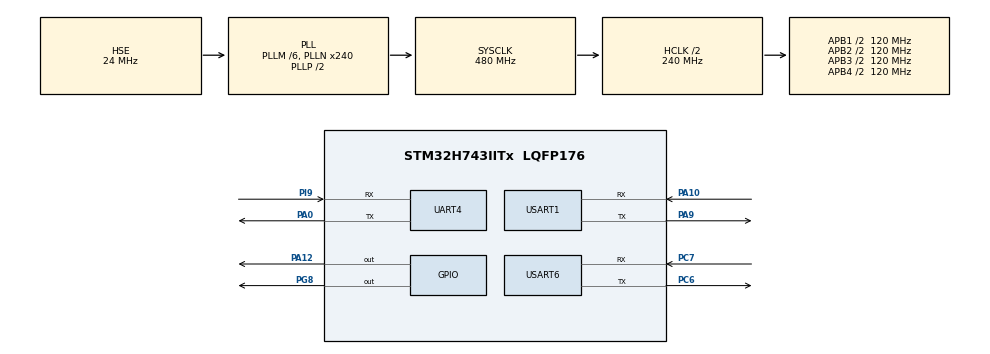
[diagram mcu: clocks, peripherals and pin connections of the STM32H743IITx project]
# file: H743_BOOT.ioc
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CORTEX_M7.CPU_DCache=Disabled
CORTEX_M7.CPU_ICache=Disabled
Mcu.Family=STM32H7
Mcu.Name=STM32H743IITx
Mcu.Package=LQFP176
NVIC.PriorityGroup=NVIC_PRIORITYGROUP_4
NVIC.UART4_IRQn=true\:0\:0\:false\:false\:true\:true\:true\:true
NVIC.USART1_IRQn=true\:0\:0\:false\:false\:true\:true\:true\:true
NVIC.USART6_IRQn=true\:0\:0\:false\:false\:true\:true\:true\:true
PA0.Mode=Asynchronous
PA0.Signal=UART4_TX
PA10.Mode=Asynchronous
PA10.Signal=USART1_RX
PA12.GPIO_PuPd=GPIO_PULLUP
PA12.PinState=GPIO_PIN_SET
PA12.Signal=GPIO_Output
PA13\ (JTMS/SWDIO).Mode=Serial_Wire
PA13\ (JTMS/SWDIO).Signal=DEBUG_JTMS-SWDIO
PA14\ (JTCK/SWCLK).Mode=Serial_Wire
PA14\ (JTCK/SWCLK).Signal=DEBUG_JTCK-SWCLK
PA9.Mode=Asynchronous
PA9.Signal=USART1_TX
PC6.Mode=Asynchronous
PC6.Signal=USART6_TX
PC7.Mode=Asynchronous
PC7.Signal=USART6_RX
PG8.GPIO_PuPd=GPIO_PULLUP
PG8.PinState=GPIO_PIN_SET
PG8.Signal=GPIO_Output
PH0-OSC_IN\ (PH0).Mode=HSE-External-Oscillator
PH0-OSC_IN\ (PH0).Signal=RCC_OSC_IN
PH1-OSC_OUT\ (PH1).Mode=HSE-External-Oscillator
PH1-OSC_OUT\ (PH1).Signal=RCC_OSC_OUT
PI9.Mode=Asynchronous
PI9.Signal=UART4_RX
ProjectManager.HeapSize=0x200
ProjectManager.StackSize=0x400
ProjectManager.TargetToolchain=MDK-ARM V5.32
RCC.ADCFreq_Value=180000000
RCC.APB1Freq_Value=120000000
RCC.APB2Freq_Value=120000000
RCC.APB3Freq_Value=120000000
RCC.APB4Freq_Value=120000000
RCC.CortexFreq_Value=480000000
RCC.D1PPRE=RCC_APB3_DIV2
RCC.D2PPRE1=RCC_APB1_DIV2
RCC.D2PPRE2=RCC_APB2_DIV2
RCC.D3PPRE=RCC_APB4_DIV2
RCC.DIVM1=6
RCC.DIVM2=12
RCC.DIVM3=24
RCC.DIVN1=240
RCC.DIVN2=180
RCC.DIVN3=384
RCC.DIVQ1=4
RCC.DIVQ2=4
RCC.DIVQ3=8
RCC.FDCANCLockSelection=RCC_FDCANCLKSOURCE_PLL2
RCC.HCLKFreq_Value=240000000
RCC.HPRE=RCC_HCLK_DIV2
RCC.HSE_VALUE=24000000
RCC.PLLSourceVirtual=RCC_PLLSOURCE_HSE
RCC.ProductRev=revV
RCC.SYSCLKFreq_VALUE=480000000
RCC.SYSCLKSource=RCC_SYSCLKSOURCE_PLLCLK
RCC.USBFreq_Value=240000000
USART1.VirtualMode-Asynchronous=VM_ASYNC
USART6.VirtualMode-Asynchronous=VM_ASYNC
board=custom

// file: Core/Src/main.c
/* USER CODE BEGIN Header */
/**
  ******************************************************************************
  * @file           : main.c
  * @brief          : Main program body
  ******************************************************************************
  * @attention
  *
  * Copyright (c) 2023 STMicroelectronics.
  * All rights reserved.
  *
  * This software is licensed under terms that can be found in the LICENSE file
  * in the root directory of this software component.
  * If no LICENSE file comes with this software, it is provided AS-IS.
  *
  ******************************************************************************
  */
/* USER CODE END Header */
#include "main.h"
#include "usart.h"
#include "gpio.h"

/* USER CODE BEGIN Includes */
#include "stdio.h"
#include "check_agent_engine.h"
#include "micro_shell.h"
#include "ymodem_ota.h"
/* USER CODE END Includes */

/* USER CODE BEGIN PTD */
#include "SEGGER_RTT.h"
/* USER CODE END PTD */

void SystemClock_Config(void);

/* USER CODE BEGIN 0 */
__attribute__((aligned(32)))
uint8_t s_chBuffer[2048 + 128] ;
static byte_queue_t                  s_tCheckUsePeekQueue;
static fsm(check_use_peek)           s_fsmCheckUsePeek;
static ymodem_ota_recive_t           s_tYmodemOtaReceive;
static check_shell_t                 s_tShellObj;

int reboot(void)
{
    SCB->AIRCR = 0X05FA0000 | (uint32_t)0x04;
    return 0;
}
MSH_CMD_EXPORT(reboot, reboot)

int64_t get_system_time_ms(void)
{
    return HAL_GetTick();
}

uint16_t shell_read_data(wl_shell_t *ptObj, char *pchBuffer, uint16_t hwSize)
{
//    peek_byte_t *ptReadByte = get_read_byte_interface(&s_fsmCheckUsePeek);
//    return ptReadByte->fnGetByte(ptReadByte, (uint8_t *)pchBuffer, hwSize);
//
	return SEGGER_RTT_Read(0,(uint8_t *)pchBuffer, hwSize);
}

uint16_t shell_write_data(wl_shell_t *ptObj, const char *pchBuffer, uint16_t hwSize)
{
	//HAL_UART_Transmit(&huart6, (uint8_t *)pchBuffer, hwSize, 100);
	return SEGGER_RTT_Write(0, pchBuffer,hwSize);
}
/* USER CODE END 0 */

int main(void)
{

    /* MCU Configuration--------------------------------------------------------*/

    /* Reset of all peripherals, Initializes the Flash interface and the Systick. */
    HAL_Init();

    /* Configure the system clock */
    SystemClock_Config();

    /* Initialize all configured peripherals */
    MX_GPIO_Init();
    MX_USART1_UART_Init();
    MX_USART6_UART_Init();
    MX_UART4_Init();
    /* USER CODE BEGIN 2 */
    queue_init(&s_tCheckUsePeekQueue, s_chBuffer, sizeof(s_chBuffer));
    init_fsm(check_use_peek, &s_fsmCheckUsePeek, args(&s_tCheckUsePeekQueue));
    shell_ops_t s_tOps = {
        .fnReadData = shell_read_data,
		.fnWriteData = shell_write_data,
    };
    shell_init(&s_tShellObj,&s_tOps);
	agent_register(&s_fsmCheckUsePeek, &s_tShellObj.tCheckAgent);

    ymodem_ota_receive_init(&s_tYmodemOtaReceive, get_read_byte_interface(&s_fsmCheckUsePeek));
    agent_register(&s_fsmCheckUsePeek, &s_tYmodemOtaReceive.tCheckAgent);

    connect(&tUartMsgObj, SIGNAL(uart_sig), &s_tCheckUsePeekQueue, SLOT(enqueue_bytes));

    connect(&s_tYmodemOtaReceive.tYmodemReceive, SIGNAL(ymodem_rec_sig), &huart1, SLOT(uart_sent_data));
    connect(&s_tYmodemOtaReceive.tYmodemReceive, SIGNAL(ymodem_rec_sig), &huart6, SLOT(uart_sent_data));

    SEGGER_RTT_Init();

    /* USER CODE END 2 */

    /* Infinite loop */
    while (1) {

        /* USER CODE BEGIN 3 */
        call_fsm( check_use_peek,  &s_fsmCheckUsePeek );
    }

    /* USER CODE END 3 */
}

void SystemClock_Config(void)
{
    RCC_OscInitTypeDef RCC_OscInitStruct = {0};
    RCC_ClkInitTypeDef RCC_ClkInitStruct = {0};

    /** Supply configuration update enable
    */
    HAL_PWREx_ConfigSupply(PWR_LDO_SUPPLY);

    /** Configure the main internal regulator output voltage
    */
    __HAL_PWR_VOLTAGESCALING_CONFIG(PWR_REGULATOR_VOLTAGE_SCALE1);

    while(!__HAL_PWR_GET_FLAG(PWR_FLAG_VOSRDY)) {}

    __HAL_RCC_SYSCFG_CLK_ENABLE();
    __HAL_PWR_VOLTAGESCALING_CONFIG(PWR_REGULATOR_VOLTAGE_SCALE0);

    while(!__HAL_PWR_GET_FLAG(PWR_FLAG_VOSRDY)) {}

    /** Initializes the RCC Oscillators according to the specified parameters
    * in the RCC_OscInitTypeDef structure.
    */
    RCC_OscInitStruct.OscillatorType = RCC_OSCILLATORTYPE_HSE;
    RCC_OscInitStruct.HSEState = RCC_HSE_ON;
    RCC_OscInitStruct.PLL.PLLState = RCC_PLL_ON;
    RCC_OscInitStruct.PLL.PLLSource = RCC_PLLSOURCE_HSE;
    RCC_OscInitStruct.PLL.PLLM = 6;
    RCC_OscInitStruct.PLL.PLLN = 240;
    RCC_OscInitStruct.PLL.PLLP = 2;
    RCC_OscInitStruct.PLL.PLLQ = 4;
    RCC_OscInitStruct.PLL.PLLR = 2;
    RCC_OscInitStruct.PLL.PLLRGE = RCC_PLL1VCIRANGE_2;
    RCC_OscInitStruct.PLL.PLLVCOSEL = RCC_PLL1VCOWIDE;
    RCC_OscInitStruct.PLL.PLLFRACN = 0;

    if (HAL_RCC_OscConfig(&RCC_OscInitStruct) != HAL_OK) {
        Error_Handler();
    }

    /** Initializes the CPU, AHB and APB buses clocks
    */
    RCC_ClkInitStruct.ClockType = RCC_CLOCKTYPE_HCLK | RCC_CLOCKTYPE_SYSCLK
                                  | RCC_CLOCKTYPE_PCLK1 | RCC_CLOCKTYPE_PCLK2
                                  | RCC_CLOCKTYPE_D3PCLK1 | RCC_CLOCKTYPE_D1PCLK1;
    RCC_ClkInitStruct.SYSCLKSource = RCC_SYSCLKSOURCE_PLLCLK;
    RCC_ClkInitStruct.SYSCLKDivider = RCC_SYSCLK_DIV1;
    RCC_ClkInitStruct.AHBCLKDivider = RCC_HCLK_DIV2;
    RCC_ClkInitStruct.APB3CLKDivider = RCC_APB3_DIV2;
    RCC_ClkInitStruct.APB1CLKDivider = RCC_APB1_DIV2;
    RCC_ClkInitStruct.APB2CLKDivider = RCC_APB2_DIV2;
    RCC_ClkInitStruct.APB4CLKDivider = RCC_APB4_DIV2;

    if (HAL_RCC_ClockConfig(&RCC_ClkInitStruct, FLASH_LATENCY_4) != HAL_OK) {
        Error_Handler();
    }
}

/* USER CODE BEGIN 4 */
int stdout_putchar(int ch)
{
    //HAL_UART_Transmit(&huart6, (uint8_t *)&ch, 1, 100);
	SEGGER_RTT_PutChar(0, ch);
    return ch;
}
/* USER CODE END 4 */

void Error_Handler(void)
{
    __disable_irq();
    while (1) {
    }
}
